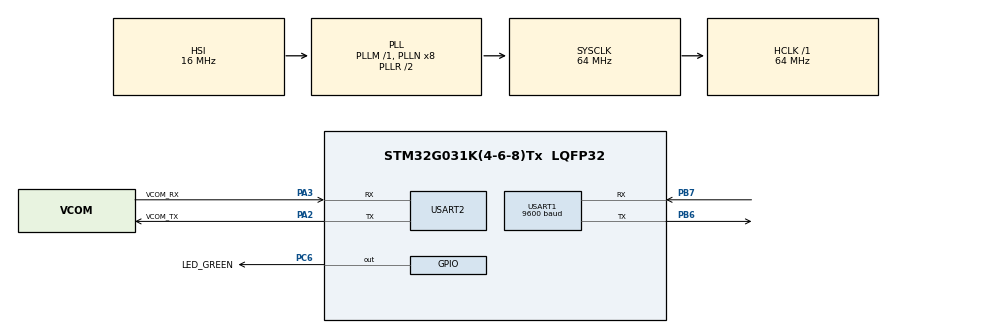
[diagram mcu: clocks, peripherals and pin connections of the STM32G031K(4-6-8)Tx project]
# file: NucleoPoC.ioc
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Mcu.Family=STM32G0
Mcu.Name=STM32G031K(4-6-8)Tx
Mcu.Package=LQFP32
PA2.GPIO_Label=VCOM_TX
PA2.Mode=Asynchronous
PA2.Signal=USART2_TX
PA3.GPIO_Label=VCOM_RX
PA3.Mode=Asynchronous
PA3.Signal=USART2_RX
PB6.Mode=Asynchronous
PB6.Signal=USART1_TX
PB7.Mode=Asynchronous
PB7.Signal=USART1_RX
PC6.GPIO_Label=LED_GREEN
PC6.Signal=GPIO_Output
ProjectManager.HeapSize=0x200
ProjectManager.StackSize=0x400
ProjectManager.TargetToolchain=STM32CubeIDE
RCC.ADCFreq_Value=64000000
RCC.AHBFreq_Value=64000000
RCC.CortexFreq_Value=64000000
RCC.EXTERNAL_CLOCK_VALUE=12288000
RCC.HCLKFreq_Value=64000000
RCC.HSE_VALUE=8000000
RCC.HSI_VALUE=16000000
RCC.LSE_VALUE=32768
RCC.SYSCLKFreq_VALUE=64000000
RCC.SYSCLKSource=RCC_SYSCLKSOURCE_PLLCLK
RCC.VCOOutputFreq_Value=128000000
TIM2.AutoReloadPreload=TIM_AUTORELOAD_PRELOAD_ENABLE
TIM2.Period=999
TIM2.Prescaler=63999
USART1.BaudRate=9600
USART1.VirtualMode-Asynchronous=VM_ASYNC
USART2.VirtualMode-Asynchronous=VM_ASYNC
VP_TIM2_VS_ClockSourceINT.Mode=Internal
board=custom

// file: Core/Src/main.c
/* USER CODE BEGIN Header */
/**
  ******************************************************************************
  * @file           : main.c
  * @brief          : Main program body
  ******************************************************************************
  * @attention
  *
  * Copyright (c) 2025 STMicroelectronics.
  * All rights reserved.
  *
  * This software is licensed under terms that can be found in the LICENSE file
  * in the root directory of this software component.
  * If no LICENSE file comes with this software, it is provided AS-IS.
  *
  ******************************************************************************
  */
/* USER CODE END Header */
#include "main.h"
#include "tim.h"
#include "usart.h"
#include "gpio.h"

/* USER CODE BEGIN Includes */
#include <string.h>
#include <stdbool.h>
#include <stdio.h>

#include "DataLink_Driver.h"  // protocol: framing/CRC/timeout/reset
#include "DataLink_User.h"
#include "DataLink_HAL.h"
#include "DataLink_CLI.h"
#include "Ocean_Registers.h"
#include "Ocean_Conversions.h"

/* USER CODE END Includes */

/* USER CODE BEGIN PD */
/*** Link types, framing and constants ***/

#define APP_VERSION_STR           "0.1.1"						/* Application version string printed on console at startup. */

/* USER CODE END PD */

void SystemClock_Config(void);
/* USER CODE BEGIN PFP */

//void SetCommand(char *command);

/* USER CODE END PFP */

int main(void)
{

  /* MCU Configuration--------------------------------------------------------*/

  /* Reset of all peripherals, Initializes the Flashelph interface and the Systick. */
  HAL_Init();

  /* Configure the system clock */
  SystemClock_Config();

  /* Initialize all configured peripherals */
  MX_GPIO_Init();
  MX_USART1_UART_Init();
  MX_USART2_UART_Init();
  MX_TIM2_Init();
  /* USER CODE BEGIN 2 */

  const uint8_t cls[] =
      "\033[H\033[2J"
      "**********************\r\n"
      "*** DataLink Host ****\r\n"
      "***    V " APP_VERSION_STR "    ****\r\n"
      "**********************\r\n\r\n";
  HAL_UART_Transmit(&huart2, (uint8_t*)cls, (uint16_t)strlen((const char*)cls), 50);

  // Start timer interrupt for LED heartbeat
  HAL_TIM_Base_Start_IT(&htim2);

  HAL_Delay(1000);

  // Build CRC16 LUT once (Ocean UI polynomial)
  crc16_init();  /* LUT based on poly 0xA2EB, init value 0xFFFF */ /*cite*/

  // Wait until contact i.e loop here until contact with Ocean Driver
  while(!dl_handshake())
  {
	  print_line("Waiting for connection\r\n");
	  HAL_Delay(500);
  }

  print_line("Handshake OK\r\n");

//  /* One-time info + initial Error line */
//  read_one_time_blocks();

//  TestSequense();
  ManualMode();
//  RampPower();

  /* USER CODE END 2 */

  /* Infinite loop */
  /* USER CODE BEGIN WHILE */
  /* Periodic scheduler: every 3000 ms */
//  uint32_t last_poll_ms = HAL_GetTick();

  while (1)
  {
//	    uint32_t now = HAL_GetTick();
//
//	    /* If config wasn't loaded (e.g., handshake recovery), try again */
//	    if (!g_config_loaded) {
//	      read_one_time_blocks();
//	      /* throttle retries a bit */
//	      HAL_Delay(50);
//	    }
//
//	    /* Poll once per ~3 s */
//	    if ((now - last_poll_ms) >= 3000u)
//	    {
//	      last_poll_ms = now;
//	      poll_periodic();
//	    }

    /* USER CODE END WHILE */

  }
}

void SystemClock_Config(void)
{
  RCC_OscInitTypeDef RCC_OscInitStruct = {0};
  RCC_ClkInitTypeDef RCC_ClkInitStruct = {0};

  /** Configure the main internal regulator output voltage
  */
  HAL_PWREx_ControlVoltageScaling(PWR_REGULATOR_VOLTAGE_SCALE1);

  /** Initializes the RCC Oscillators according to the specified parameters
  * in the RCC_OscInitTypeDef structure.
  */
  RCC_OscInitStruct.OscillatorType = RCC_OSCILLATORTYPE_HSI;
  RCC_OscInitStruct.HSIState = RCC_HSI_ON;
  RCC_OscInitStruct.HSIDiv = RCC_HSI_DIV1;
  RCC_OscInitStruct.HSICalibrationValue = RCC_HSICALIBRATION_DEFAULT;
  RCC_OscInitStruct.PLL.PLLState = RCC_PLL_ON;
  RCC_OscInitStruct.PLL.PLLSource = RCC_PLLSOURCE_HSI;
  RCC_OscInitStruct.PLL.PLLM = RCC_PLLM_DIV1;
  RCC_OscInitStruct.PLL.PLLN = 8;
  RCC_OscInitStruct.PLL.PLLP = RCC_PLLP_DIV2;
  RCC_OscInitStruct.PLL.PLLQ = RCC_PLLQ_DIV2;
  RCC_OscInitStruct.PLL.PLLR = RCC_PLLR_DIV2;
  if (HAL_RCC_OscConfig(&RCC_OscInitStruct) != HAL_OK)
  {
    Error_Handler();
  }

  /** Initializes the CPU, AHB and APB buses clocks
  */
  RCC_ClkInitStruct.ClockType = RCC_CLOCKTYPE_HCLK|RCC_CLOCKTYPE_SYSCLK
                              |RCC_CLOCKTYPE_PCLK1;
  RCC_ClkInitStruct.SYSCLKSource = RCC_SYSCLKSOURCE_PLLCLK;
  RCC_ClkInitStruct.AHBCLKDivider = RCC_SYSCLK_DIV1;
  RCC_ClkInitStruct.APB1CLKDivider = RCC_HCLK_DIV1;

  if (HAL_RCC_ClockConfig(&RCC_ClkInitStruct, FLASH_LATENCY_2) != HAL_OK)
  {
    Error_Handler();
  }
}

/* USER CODE BEGIN 4 */

// Application (BSP) functions

// Toggle the green led as a heartbeat
void HAL_TIM_PeriodElapsedCallback(TIM_HandleTypeDef *htim)
{
    if (htim->Instance == TIM2)
    {
        HAL_GPIO_TogglePin(LED_GREEN_GPIO_Port, LED_GREEN_Pin);
    }
}

/* USER CODE END 4 */

void Error_Handler(void)
{
  __disable_irq();
  while (1)
  {
  }
}
